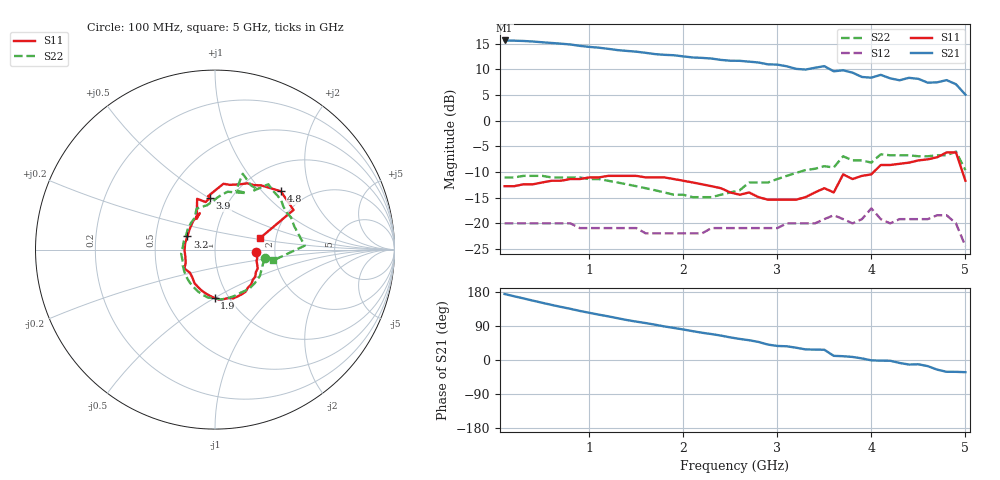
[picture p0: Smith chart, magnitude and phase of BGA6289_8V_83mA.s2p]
!BGA6289
!Scattering parameters
!Is=83mA Vs=8V
!Z0=50 Ohm
!Tamb 25C
#  MHz  S  MA  R 50
! Freq  S11  S21  S12  S22  :
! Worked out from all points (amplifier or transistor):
!   50 points, 100 MHz to 5 GHz, reference 50 ohm
!   highest |S21| = 15.6 dB at 100 MHz (marker M1)
!   |S21| within 3 dB of that: start of sweep to 1.955 GHz
!   unconditionally stable (mu >= 1): start of sweep to end of sweep
!   at 900 MHz: K = 1.17, MAG = 15.3 dB, |S12| = -20.9 dB
!   at 2.6 GHz: K = 1.49, MAG = 12.1 dB, |S12| = -20.9 dB
!   at 5 GHz: K = 3.85, MAG = 6.0 dB, |S12| = -24.4 dB
!   S11 on the Smith chart (normalised r, x): 100 MHz: 1.59, -0.05; 1.9 GHz: 0.86, -0.50; 3.2 GHz: 0.73, +0.11; 3.9 GHz: 0.80, +0.51; 4.8 GHz: 1.50, +1.28; 5 GHz: 1.65, +0.23
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100  0.23 -3.6  6.03 174.1  0.1 -1.6  0.28 -9.9
300  0.24 -10.7  5.96 162.6  0.1 -5.0  0.29 -30.4
600  0.26 -23.9  5.7 145.4  0.1 -9.4  0.28 -58.5
1000  0.28 -43.8  5.22 124.6  0.09 -12.5  0.27 -91.0
1400  0.29 -64.2  4.77 105.5  0.09 -13.9  0.24 -120.7
1800  0.28 -85.1  4.37 88.5  0.08 -13.1  0.2 -153.6
1900  0.27 -90.4  4.33 84.6  0.08 -12.9  0.19 -163.2
2600  0.19 -137.0  3.82 55.6  0.09 -10.4  0.21 122.8
3000  0.17 -178.5  3.51 37.1  0.09 -10.9  0.27 92.7
3200  0.17 154.5  3.19 32.4  0.1 -9.9  0.31 82.5
3400  0.2 127.7  3.27 27.5  0.1 -8.6  0.34 69.3
3500  0.22 112.8  3.39 27.0  0.11 -7.7  0.36 61.0
3600  0.2 120.6  3.02 11.0  0.12 -15.4  0.35 70.4
3700  0.3 109.3  3.09 10.0  0.11 -29.9  0.45 69.9
3900  0.29 95.5  2.66 4.2  0.11 -18.1  0.41 56.5
4100  0.37 82.7  2.79 -1.8  0.11 -32.9  0.47 50.8
4200  0.37 77.1  2.58 -1.9  0.1 -29.1  0.46 44.8
4400  0.39 68.9  2.61 -12.0  0.11 -26.3  0.46 36.9
4500  0.41 64.2  2.55 -11.3  0.11 -27.4  0.45 32.1
4600  0.42 58.8  2.34 -16.2  0.11 -29.9  0.45 27.3
4800  0.49 41.6  2.48 -31.1  0.12 -30.8  0.46 16.6
5000  0.26 14.4  1.79 -32.1  0.06 1.0  0.33 -10.6
